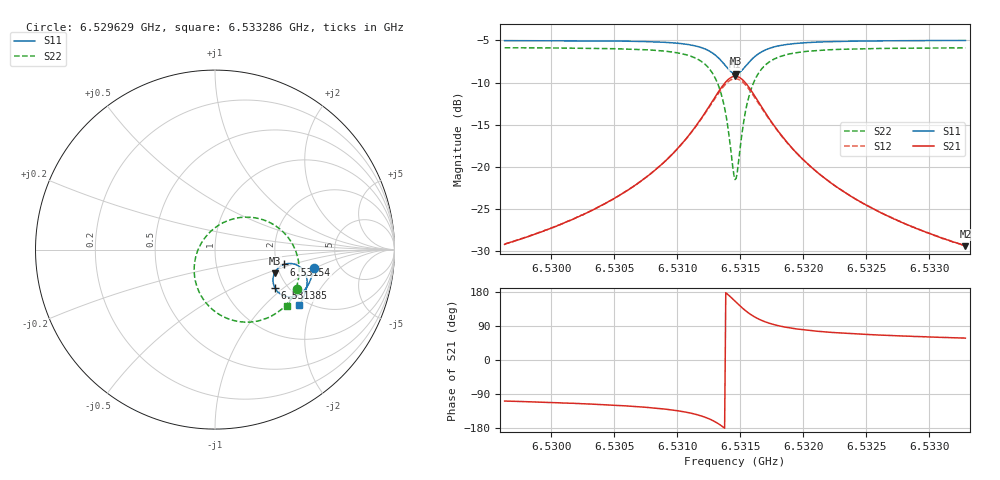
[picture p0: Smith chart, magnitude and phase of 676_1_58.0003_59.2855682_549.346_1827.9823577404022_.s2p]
#  HZ  S  RI  R  50.00
! Rohde & Schwarz Vector Network Analyzer
! Rohde-Schwarz,ZNB20-2Port,1311601062101988,3.16
! Created: UTC 3/21/2024, 1:20:39 AM
! freq[Hz]  re:S11  im:S11  re:S21  im:S21  re:S12  im:S12  re:S22  im:S22
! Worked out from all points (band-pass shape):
!   401 points, 6.529629 GHz to 6.533286 GHz, reference 50 ohm
!   highest |S21| = -9.25 dB at 6.531458 GHz (marker M1); lowest = -29.4 dB at 6.533286 GHz (marker M2)
!   |S21| within 3 dB of the highest: 6.531277 GHz to 6.531642 GHz (365.5 kHz wide, 0.0056 % of centre)
!   lowest |S11| = -9.0 dB at 6.531467 GHz (marker M3), VSWR 2.11, Z = 94.1 - j28.3 ohm
!   |S11| at or under -10 dB: nowhere
!   |S22| runs from -21.5 to -5.9 dB; largest |S21 - S12| = 0.014
!   S11 on the Smith chart (normalised r, x): 6.529629 GHz: 3.23, -0.97; 6.531385 GHz: 1.72, -0.87; 6.53154 GHz: 2.20, -0.43; 6.533286 GHz: 1.83, -1.64
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6.5296294e9  0.5509 -0.1026  -0.0109 -0.033  -0.0116 -0.0329  0.4577 -0.2213
6.5302419e9  0.5372 -0.1547  -0.0222 -0.0468  -0.0233 -0.0463  0.4209 -0.2794
6.530571e9  0.5244 -0.1865  -0.0358 -0.0602  -0.0374 -0.0593  0.3854 -0.3194
6.5308543e9  0.5043 -0.2186  -0.0615 -0.0791  -0.0639 -0.0772  0.3273 -0.3632
6.5310737e9  0.4717 -0.2483  -0.11 -0.0991  -0.113 -0.0951  0.231 -0.3992
6.5312291e9  0.4207 -0.2638  -0.1899 -0.1003  -0.1916 -0.0919  0.087 -0.3901
6.5313205e9  0.3699 -0.2509  -0.2677 -0.0614  -0.2648 -0.0498  -0.0395 -0.309
6.5313571e9  0.3477 -0.2332  -0.2999 -0.0247  -0.2936 -0.0131  -0.086 -0.2411
6.5313845e9  0.3338 -0.2132  -0.3187 0.0137  -0.3095 0.0242  -0.1095 -0.174
6.5314394e9  0.3237 -0.1593  -0.3244 0.1103  -0.3109 0.1154  -0.0998 -0.0146
6.5314577e9  0.3282 -0.1403  -0.3134 0.1435  -0.2996 0.1461  -0.0755 0.0372
6.5314668e9  0.3318 -0.1311  -0.3054 0.1592  -0.2919 0.1606  -0.0597 0.0611
6.5314851e9  0.3418 -0.1143  -0.2853 0.1875  -0.2726 0.1867  -0.0218 0.1036
6.5315399e9  0.3853 -0.0824  -0.205 0.2399  -0.1968 0.2353  0.1185 0.1752
6.5315674e9  0.4087 -0.0775  -0.164 0.2476  -0.158 0.2426  0.1875 0.1806
6.5316039e9  0.4363 -0.0794  -0.1167 0.2442  -0.1126 0.2398  0.2663 0.1667
6.5316953e9  0.4813 -0.1032  -0.0401 0.2075  -0.0385 0.2049  0.3896 0.0884
6.5318325e9  0.5069 -0.1431  0.00453 0.1516  0.00569 0.1506  0.4549 -0.0222
6.5320701e9  0.5131 -0.1907  0.0219 0.0962  0.0231 0.0958  0.4685 -0.1348
6.5323718e9  0.506 -0.2297  0.0234 0.0632  0.0244 0.0629  0.4541 -0.2082
6.5326826e9  0.495 -0.2596  0.0217 0.0459  0.0224 0.0455  0.4355 -0.2543
6.5332859e9  0.4707 -0.3065  0.0182 0.0286  0.0188 0.0284  0.4007 -0.3118
